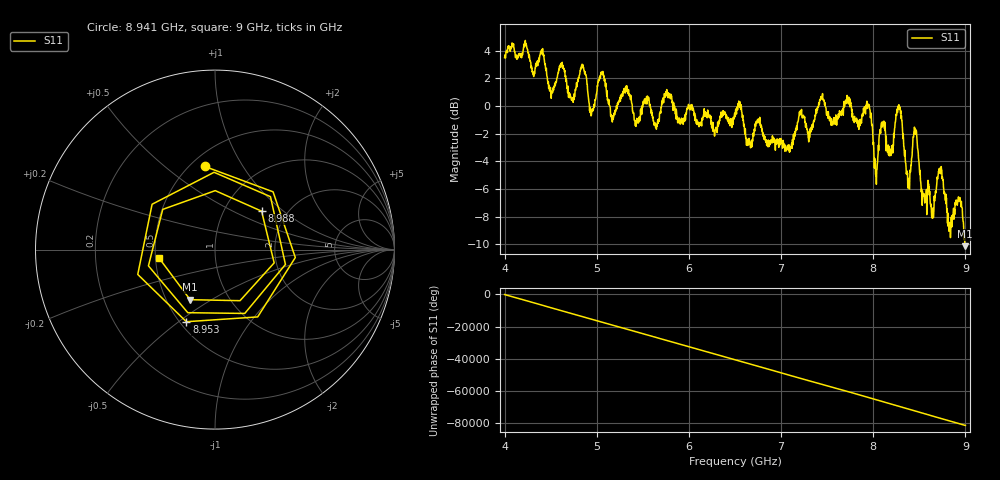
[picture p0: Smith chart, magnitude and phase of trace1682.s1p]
! Created with skrf 1.8.0 (http://scikit-rf.org).
# Hz S RI R 50.0
!freq ReS11 ImS11
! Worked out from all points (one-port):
!   1601 points, 4 GHz to 9 GHz, reference 50 ohm
!   lowest |S11| = -10.1 dB at 8.997 GHz (marker M1), VSWR 1.91, Z = 32.9 - j20.3 ohm
!   |S11| at or under -10 dB: 8.994379 GHz to end of sweep
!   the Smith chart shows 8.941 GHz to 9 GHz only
!   S11 on the Smith chart (normalised r, x): 8.941 GHz: 0.59, +0.70; 8.953 GHz: 0.54, -0.53; 8.988 GHz: 1.49, +0.72; 9 GHz: 0.52, -0.06
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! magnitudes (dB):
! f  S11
! 4 GHz  3.5
! 4.406 GHz  4.0
! 4.509 GHz  1.1
! 4.625 GHz  3.2
! 4.728 GHz  0.4
! 4.856 GHz  2.8
! 4.941 GHz  -0.7
! 5.053 GHz  2.3
! 5.172 GHz  -0.7
! 5.25 GHz  0.5
! 5.875 GHz  -0.8
! 6.5 GHz  -0.7
! 7.125 GHz  -2.4
! 7.75 GHz  0.5
! 7.953 GHz  0.1
! 8.034 GHz  -5.7
! 8.281 GHz  -0.1
! 8.375 GHz  -5.9
! 8.453 GHz  -2.0
! 8.547 GHz  -6.5
! 8.647 GHz  -7.4
! 8.728 GHz  -4.5
! 8.828 GHz  -8.5
! 8.941 GHz  -6.6
! 8.953 GHz  -7.3
! 8.988 GHz  -9.5
! 8.997 GHz  -10.1
! 9 GHz  -10.1
